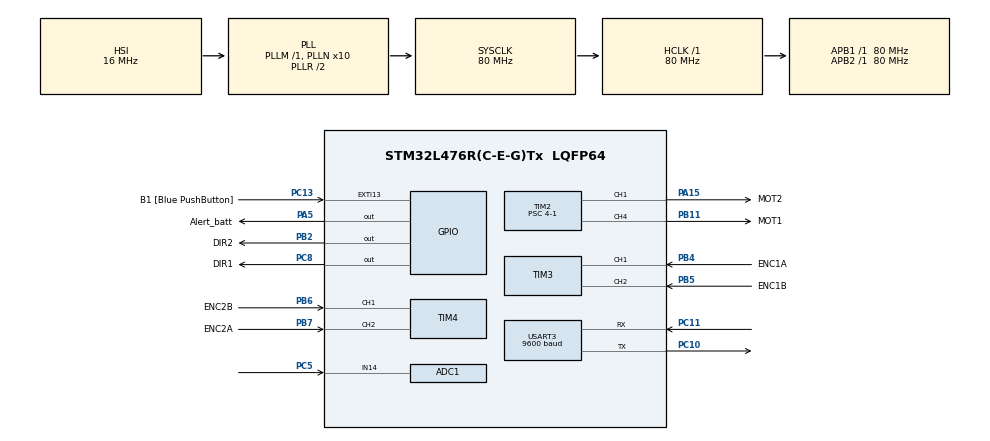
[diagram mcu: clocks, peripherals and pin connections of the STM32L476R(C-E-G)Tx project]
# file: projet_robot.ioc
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ADC1.Channel-1\#ChannelRegularConversion=ADC_CHANNEL_14
ADC1.NbrOfConversionFlag=1
ADC1.OffsetNumber-1\#ChannelRegularConversion=ADC_OFFSET_NONE
ADC1.Rank-1\#ChannelRegularConversion=1
ADC1.Resolution=ADC_RESOLUTION_8B
ADC1.SamplingTime-1\#ChannelRegularConversion=ADC_SAMPLETIME_640CYCLES_5
ADC1.master=1
Mcu.Family=STM32L4
Mcu.Name=STM32L476R(C-E-G)Tx
Mcu.Package=LQFP64
NVIC.ADC1_2_IRQn=true\:0\:0\:false\:false\:true\:true\:true\:true
NVIC.EXTI15_10_IRQn=true\:0\:0\:false\:false\:true\:true\:true\:true
NVIC.PriorityGroup=NVIC_PRIORITYGROUP_4
NVIC.TIM3_IRQn=true\:0\:0\:false\:false\:true\:true\:true\:true
NVIC.TIM4_IRQn=true\:0\:0\:false\:false\:true\:true\:true\:true
NVIC.TIM6_DAC_IRQn=true\:0\:0\:false\:false\:true\:true\:true\:true
NVIC.USART3_IRQn=true\:0\:0\:false\:false\:true\:true\:true\:true
PA13\ (JTMS-SWDIO).GPIO_Label=TMS
PA13\ (JTMS-SWDIO).Mode=Serial_Wire
PA13\ (JTMS-SWDIO).Signal=SYS_JTMS-SWDIO
PA14\ (JTCK-SWCLK).GPIO_Label=TCK
PA14\ (JTCK-SWCLK).Mode=Serial_Wire
PA14\ (JTCK-SWCLK).Signal=SYS_JTCK-SWCLK
PA15\ (JTDI).GPIO_Label=MOT2
PA15\ (JTDI).Signal=S_TIM2_CH1
PA5.GPIO_Label=Alert_batt
PA5.GPIO_ModeDefaultOutputPP=GPIO_MODE_OUTPUT_PP
PA5.GPIO_PuPd=GPIO_NOPULL
PA5.GPIO_Speed=GPIO_SPEED_FREQ_LOW
PA5.Signal=GPIO_Output
PB11.GPIO_Label=MOT1
PB11.Signal=S_TIM2_CH4
PB12.Signal=USART3_CK
PB2.GPIO_Label=DIR2
PB2.Signal=GPIO_Output
PB3\ (JTDO-TRACESWO).GPIO_Label=SWO
PB3\ (JTDO-TRACESWO).Signal=SYS_JTDO-SWO
PB4\ (NJTRST).GPIO_Label=ENC1A
PB4\ (NJTRST).Signal=S_TIM3_CH1
PB5.GPIO_Label=ENC1B
PB5.Signal=S_TIM3_CH2
PB6.GPIO_Label=ENC2B
PB6.Signal=S_TIM4_CH1
PB7.GPIO_Label=ENC2A
PB7.Signal=S_TIM4_CH2
PC10.Mode=Asynchronous
PC10.Signal=USART3_TX
PC11.Mode=Asynchronous
PC11.Signal=USART3_RX
PC13.GPIO_Label=B1 [Blue PushButton]
PC13.GPIO_ModeDefaultEXTI=GPIO_MODE_IT_FALLING
PC13.GPIO_PuPd=GPIO_NOPULL
PC13.Signal=GPXTI13
PC14-OSC32_IN\ (PC14).Mode=LSE-External-Oscillator
PC14-OSC32_IN\ (PC14).Signal=RCC_OSC32_IN
PC15-OSC32_OUT\ (PC15).Mode=LSE-External-Oscillator
PC15-OSC32_OUT\ (PC15).Signal=RCC_OSC32_OUT
PC5.Signal=ADCx_IN14
PC8.GPIO_Label=DIR1
PC8.Signal=GPIO_Output
PH0-OSC_IN\ (PH0).Signal=RCC_OSC_IN
PH1-OSC_OUT\ (PH1).Signal=RCC_OSC_OUT
ProjectManager.HeapSize=0x200
ProjectManager.StackSize=0x400
ProjectManager.TargetToolchain=STM32CubeIDE
RCC.ADCFreq_Value=64000000
RCC.AHBFreq_Value=80000000
RCC.APB1Freq_Value=80000000
RCC.APB1TimFreq_Value=80000000
RCC.APB2Freq_Value=80000000
RCC.APB2TimFreq_Value=80000000
RCC.CortexFreq_Value=80000000
RCC.HCLKFreq_Value=80000000
RCC.HSE_VALUE=8000000
RCC.HSI_VALUE=16000000
RCC.MSI_VALUE=4000000
RCC.PLLN=10
RCC.PLLSourceVirtual=RCC_PLLSOURCE_HSI
RCC.PREFETCH_ENABLE=1
RCC.SYSCLKFreq_VALUE=80000000
RCC.SYSCLKSource=RCC_SYSCLKSOURCE_PLLCLK
RCC.USBFreq_Value=64000000
RCC.VCOOutputFreq_Value=160000000
SH.ADCx_IN14.0=ADC1_IN14,IN14-Single-Ended
SH.S_TIM2_CH1.0=TIM2_CH1,PWM Generation1 CH1
SH.S_TIM2_CH4.0=TIM2_CH4,PWM Generation4 CH4
SH.S_TIM3_CH1.0=TIM3_CH1,Encoder_Interface
SH.S_TIM3_CH2.0=TIM3_CH2,Encoder_Interface
SH.S_TIM4_CH1.0=TIM4_CH1,Encoder_Interface
SH.S_TIM4_CH2.0=TIM4_CH2,Encoder_Interface
TIM2.Channel-PWM\ Generation1\ CH1=TIM_CHANNEL_1
TIM2.Channel-PWM\ Generation4\ CH4=TIM_CHANNEL_4
TIM2.Period=40000-1
TIM2.Prescaler=4-1
TIM3.EncoderMode=TIM_ENCODERMODE_TI12
TIM4.EncoderMode=TIM_ENCODERMODE_TI12
TIM4.IC1Polarity=TIM_ICPOLARITY_FALLING
TIM4.IC2Polarity=TIM_ICPOLARITY_FALLING
TIM6.Period=65535-1
TIM6.Prescaler=122-1
USART3.BaudRate=9600
USART3.Mode=MODE_TX_RX
USART3.VirtualMode-Asynchronous=VM_ASYNC
VP_TIM2_VS_ClockSourceINT.Mode=Internal
VP_TIM6_VS_ClockSourceINT.Mode=Enable_Timer
board=NUCLEO-L476RG

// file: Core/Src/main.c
/* USER CODE BEGIN Header */
/**
 ******************************************************************************
 * @file           : main.c
 * @brief          : Main program body
 ******************************************************************************
 * @attention
 *
 * Copyright (c) 2024 STMicroelectronics.
 * All rights reserved.
 *
 * This software is licensed under terms that can be found in the LICENSE file
 * in the root directory of this software component.
 * If no LICENSE file comes with this software, it is provided AS-IS.
 *
 ******************************************************************************
 */
/* USER CODE END Header */
#include "main.h"

/* USER CODE BEGIN Includes */
#include <stdio.h>
#include <string.h>
#include <stdlib.h>
/* USER CODE END Includes */

/* USER CODE BEGIN PD */
#define ADC_MAX_VALUE 255
#define RX_BUFFER_SIZE 128
#define DISTANCE_PER_PULSE 0.01
/*#define CKp_D 170
#define CKp_G 210
#define CKi_D 0
#define CKi_G 0*/
/* USER CODE END PD */

ADC_HandleTypeDef hadc1;

TIM_HandleTypeDef htim2;
TIM_HandleTypeDef htim3;
TIM_HandleTypeDef htim4;
TIM_HandleTypeDef htim6;

UART_HandleTypeDef huart3;

/* USER CODE BEGIN PV */

volatile uint8_t T_batt = 0;
volatile uint8_t adcValue;
volatile float batteryVoltage = 0.0f;
volatile uint8_t ADC_on = 0;
unsigned char rxData;
volatile uint32_t pulse_count = 0;
volatile uint32_t last_capture = 0;
volatile uint32_t current_capture = 0;
volatile float speed = 0.0;
volatile int32_t encoder_value_right = 0;
volatile int32_t encoder_value_left = 0;
volatile uint8_t T_enc = 0;
volatile uint32_t encoder_value_right_minus200 = 0;
volatile uint32_t encoder_value_left_minus200 = 0;

volatile uint8_t target10_top = 27;//35
volatile uint8_t target20_top = 68;
volatile uint8_t target30_top = 100;//85
volatile int16_t somme_erreursR = 0;
volatile int16_t somme_erreursL = 0;
volatile uint32_t VG = 0, VD=0;
volatile uint8_t vitesse;
volatile int32_t test;
volatile uint8_t buttonPressed = 0;

typedef enum {
    STATE_NEUTRAL,
    STATE_AV1,
    STATE_AV2,
    STATE_AV3,
    STATE_R1,
    STATE_R2,
    STATE_R3,
    STATE_D1,
    STATE_D2,
    STATE_D3,
    STATE_G1,
    STATE_G2,
    STATE_G3,
    STATE_END,
} State_t;

typedef enum {
    EVENT_AV,
    EVENT_R,
    EVENT_D,
    EVENT_G,
    EVENT_END,
    EVENT_NEUTRAL,
} Event_t;

State_t currentState = STATE_NEUTRAL;
Event_t currentEvent = EVENT_NEUTRAL;
/* USER CODE END PV */

void SystemClock_Config(void);
static void MX_GPIO_Init(void);
static void MX_ADC1_Init(void);
static void MX_TIM6_Init(void);
static void MX_TIM2_Init(void);
static void MX_TIM3_Init(void);
static void MX_USART3_UART_Init(void);
static void MX_TIM4_Init(void);
/* USER CODE BEGIN PFP */
void handleEvent(Event_t event);
void executeStateActions(void);
uint32_t calculCommande(int mode, int cote);
/* USER CODE END PFP */

int main(void)
{

    /* MCU Configuration--------------------------------------------------------*/

    /* Reset of all peripherals, Initializes the Flash interface and the Systick. */
    HAL_Init();

    /* Configure the system clock */
    SystemClock_Config();

    /* Initialize all configured peripherals */
    MX_GPIO_Init();
    MX_ADC1_Init();
    MX_TIM6_Init();
    MX_TIM2_Init();
    MX_TIM3_Init();
    MX_USART3_UART_Init();
    MX_TIM4_Init();
    /* USER CODE BEGIN 2 */
    HAL_TIM_Base_Start_IT(&htim6);
    HAL_TIM_PWM_Start(&htim2, TIM_CHANNEL_1);
    HAL_TIM_PWM_Start(&htim2, TIM_CHANNEL_4);
    HAL_UART_Receive_IT(&huart3, &rxData, sizeof(rxData));
    HAL_TIM_Encoder_Start(&htim3, TIM_CHANNEL_ALL);
    HAL_TIM_Encoder_Start(&htim4, TIM_CHANNEL_ALL);

    /* USER CODE END 2 */

    /* Infinite loop */
    /* USER CODE BEGIN WHILE */
    while (1)
    {
        // Exécution de la première boucle while
        if (T_batt >= 50)
        {
            T_batt = 0;
            HAL_ADC_Start_IT(&hadc1);
            if (ADC_on == 1)
            {
                ADC_on = 0;
                adcValue = HAL_ADC_GetValue(&hadc1);

                if (adcValue < 231)
                {
                    HAL_GPIO_WritePin(Alert_batt_GPIO_Port, Alert_batt_Pin, GPIO_PIN_SET); // Allumer la LED
                }
                else
                {
                    HAL_GPIO_WritePin(Alert_batt_GPIO_Port, Alert_batt_Pin, GPIO_PIN_RESET); // Éteindre la LED
                }
            }
        }

        // Exécution de la deuxième boucle while seulement si buttonPressed == 1
        if (buttonPressed == 1)
        {
            if (T_enc >= 2)
            {
                T_enc = 0;
                encoder_value_right_minus200 = encoder_value_right;
                encoder_value_left_minus200 = encoder_value_left;
                encoder_value_left = (TIM4->CNT);
                encoder_value_right = (TIM3->CNT);
                VD = calculCommande(vitesse, 0);
                VG = calculCommande(vitesse, 1);
                handleEvent(currentEvent);
                executeStateActions();
                test = encoder_value_left - encoder_value_left_minus200;
            }
        }
    }
    /* USER CODE END WHILE */

    /* USER CODE BEGIN 3 */
}

void SystemClock_Config(void)
{
    RCC_OscInitTypeDef RCC_OscInitStruct = {0};
    RCC_ClkInitTypeDef RCC_ClkInitStruct = {0};

    /** Configure the main internal regulator output voltage
     */
    if (HAL_PWREx_ControlVoltageScaling(PWR_REGULATOR_VOLTAGE_SCALE1) != HAL_OK)
    {
        Error_Handler();
    }

    /** Initializes the RCC Oscillators according to the specified parameters
     * in the RCC_OscInitTypeDef structure.
     */
    RCC_OscInitStruct.OscillatorType = RCC_OSCILLATORTYPE_HSI;
    RCC_OscInitStruct.HSIState = RCC_HSI_ON;
    RCC_OscInitStruct.HSICalibrationValue = RCC_HSICALIBRATION_DEFAULT;
    RCC_OscInitStruct.PLL.PLLState = RCC_PLL_ON;
    RCC_OscInitStruct.PLL.PLLSource = RCC_PLLSOURCE_HSI;
    RCC_OscInitStruct.PLL.PLLM = 1;
    RCC_OscInitStruct.PLL.PLLN = 10;
    RCC_OscInitStruct.PLL.PLLP = RCC_PLLP_DIV7;
    RCC_OscInitStruct.PLL.PLLQ = RCC_PLLQ_DIV2;
    RCC_OscInitStruct.PLL.PLLR = RCC_PLLR_DIV2;
    if (HAL_RCC_OscConfig(&RCC_OscInitStruct) != HAL_OK)
    {
        Error_Handler();
    }

    /** Initializes the CPU, AHB and APB buses clocks
     */
    RCC_ClkInitStruct.ClockType = RCC_CLOCKTYPE_HCLK|RCC_CLOCKTYPE_SYSCLK
            |RCC_CLOCKTYPE_PCLK1|RCC_CLOCKTYPE_PCLK2;
    RCC_ClkInitStruct.SYSCLKSource = RCC_SYSCLKSOURCE_PLLCLK;
    RCC_ClkInitStruct.AHBCLKDivider = RCC_SYSCLK_DIV1;
    RCC_ClkInitStruct.APB1CLKDivider = RCC_HCLK_DIV1;
    RCC_ClkInitStruct.APB2CLKDivider = RCC_HCLK_DIV1;

    if (HAL_RCC_ClockConfig(&RCC_ClkInitStruct, FLASH_LATENCY_4) != HAL_OK)
    {
        Error_Handler();
    }
}

static void MX_ADC1_Init(void)
{

    ADC_MultiModeTypeDef multimode = {0};
    ADC_ChannelConfTypeDef sConfig = {0};

    /** Common config
     */
    hadc1.Instance = ADC1;
    hadc1.Init.ClockPrescaler = ADC_CLOCK_ASYNC_DIV1;
    hadc1.Init.Resolution = ADC_RESOLUTION_8B;
    hadc1.Init.DataAlign = ADC_DATAALIGN_RIGHT;
    hadc1.Init.ScanConvMode = ADC_SCAN_DISABLE;
    hadc1.Init.EOCSelection = ADC_EOC_SINGLE_CONV;
    hadc1.Init.LowPowerAutoWait = DISABLE;
    hadc1.Init.ContinuousConvMode = DISABLE;
    hadc1.Init.NbrOfConversion = 1;
    hadc1.Init.DiscontinuousConvMode = DISABLE;
    hadc1.Init.ExternalTrigConv = ADC_SOFTWARE_START;
    hadc1.Init.ExternalTrigConvEdge = ADC_EXTERNALTRIGCONVEDGE_NONE;
    hadc1.Init.DMAContinuousRequests = DISABLE;
    hadc1.Init.Overrun = ADC_OVR_DATA_PRESERVED;
    hadc1.Init.OversamplingMode = DISABLE;
    if (HAL_ADC_Init(&hadc1) != HAL_OK)
    {
        Error_Handler();
    }

    /** Configure the ADC multi-mode
     */
    multimode.Mode = ADC_MODE_INDEPENDENT;
    if (HAL_ADCEx_MultiModeConfigChannel(&hadc1, &multimode) != HAL_OK)
    {
        Error_Handler();
    }

    /** Configure Regular Channel
     */
    sConfig.Channel = ADC_CHANNEL_14;
    sConfig.Rank = ADC_REGULAR_RANK_1;
    sConfig.SamplingTime = ADC_SAMPLETIME_640CYCLES_5;
    sConfig.SingleDiff = ADC_SINGLE_ENDED;
    sConfig.OffsetNumber = ADC_OFFSET_NONE;
    sConfig.Offset = 0;
    if (HAL_ADC_ConfigChannel(&hadc1, &sConfig) != HAL_OK)
    {
        Error_Handler();
    }
}

static void MX_TIM2_Init(void)
{

    TIM_ClockConfigTypeDef sClockSourceConfig = {0};
    TIM_MasterConfigTypeDef sMasterConfig = {0};
    TIM_OC_InitTypeDef sConfigOC = {0};

    htim2.Instance = TIM2;
    htim2.Init.Prescaler = 4-1;
    htim2.Init.CounterMode = TIM_COUNTERMODE_UP;
    htim2.Init.Period = 40000-1;
    htim2.Init.ClockDivision = TIM_CLOCKDIVISION_DIV1;
    htim2.Init.AutoReloadPreload = TIM_AUTORELOAD_PRELOAD_DISABLE;
    if (HAL_TIM_Base_Init(&htim2) != HAL_OK)
    {
        Error_Handler();
    }
    sClockSourceConfig.ClockSource = TIM_CLOCKSOURCE_INTERNAL;
    if (HAL_TIM_ConfigClockSource(&htim2, &sClockSourceConfig) != HAL_OK)
    {
        Error_Handler();
    }
    if (HAL_TIM_PWM_Init(&htim2) != HAL_OK)
    {
        Error_Handler();
    }
    sMasterConfig.MasterOutputTrigger = TIM_TRGO_RESET;
    sMasterConfig.MasterSlaveMode = TIM_MASTERSLAVEMODE_DISABLE;
    if (HAL_TIMEx_MasterConfigSynchronization(&htim2, &sMasterConfig) != HAL_OK)
    {
        Error_Handler();
    }
    sConfigOC.OCMode = TIM_OCMODE_PWM1;
    sConfigOC.Pulse = 0;
    sConfigOC.OCPolarity = TIM_OCPOLARITY_HIGH;
    sConfigOC.OCFastMode = TIM_OCFAST_DISABLE;
    if (HAL_TIM_PWM_ConfigChannel(&htim2, &sConfigOC, TIM_CHANNEL_1) != HAL_OK)
    {
        Error_Handler();
    }
    if (HAL_TIM_PWM_ConfigChannel(&htim2, &sConfigOC, TIM_CHANNEL_4) != HAL_OK)
    {
        Error_Handler();
    }
    HAL_TIM_MspPostInit(&htim2);
}

static void MX_TIM3_Init(void)
{

    TIM_Encoder_InitTypeDef sConfig = {0};
    TIM_MasterConfigTypeDef sMasterConfig = {0};

    htim3.Instance = TIM3;
    htim3.Init.Prescaler = 0;
    htim3.Init.CounterMode = TIM_COUNTERMODE_UP;
    htim3.Init.Period = 65535;
    htim3.Init.ClockDivision = TIM_CLOCKDIVISION_DIV1;
    htim3.Init.AutoReloadPreload = TIM_AUTORELOAD_PRELOAD_DISABLE;
    sConfig.EncoderMode = TIM_ENCODERMODE_TI12;
    sConfig.IC1Polarity = TIM_ICPOLARITY_RISING;
    sConfig.IC1Selection = TIM_ICSELECTION_DIRECTTI;
    sConfig.IC1Prescaler = TIM_ICPSC_DIV1;
    sConfig.IC1Filter = 0;
    sConfig.IC2Polarity = TIM_ICPOLARITY_RISING;
    sConfig.IC2Selection = TIM_ICSELECTION_DIRECTTI;
    sConfig.IC2Prescaler = TIM_ICPSC_DIV1;
    sConfig.IC2Filter = 0;
    if (HAL_TIM_Encoder_Init(&htim3, &sConfig) != HAL_OK)
    {
        Error_Handler();
    }
    sMasterConfig.MasterOutputTrigger = TIM_TRGO_RESET;
    sMasterConfig.MasterSlaveMode = TIM_MASTERSLAVEMODE_DISABLE;
    if (HAL_TIMEx_MasterConfigSynchronization(&htim3, &sMasterConfig) != HAL_OK)
    {
        Error_Handler();
    }
}

static void MX_TIM4_Init(void)
{

    TIM_Encoder_InitTypeDef sConfig = {0};
    TIM_MasterConfigTypeDef sMasterConfig = {0};

    htim4.Instance = TIM4;
    htim4.Init.Prescaler = 0;
    htim4.Init.CounterMode = TIM_COUNTERMODE_UP;
    htim4.Init.Period = 65535;
    htim4.Init.ClockDivision = TIM_CLOCKDIVISION_DIV1;
    htim4.Init.AutoReloadPreload = TIM_AUTORELOAD_PRELOAD_DISABLE;
    sConfig.EncoderMode = TIM_ENCODERMODE_TI12;
    sConfig.IC1Polarity = TIM_ICPOLARITY_FALLING;
    sConfig.IC1Selection = TIM_ICSELECTION_DIRECTTI;
    sConfig.IC1Prescaler = TIM_ICPSC_DIV1;
    sConfig.IC1Filter = 0;
    sConfig.IC2Polarity = TIM_ICPOLARITY_FALLING;
    sConfig.IC2Selection = TIM_ICSELECTION_DIRECTTI;
    sConfig.IC2Prescaler = TIM_ICPSC_DIV1;
    sConfig.IC2Filter = 0;
    if (HAL_TIM_Encoder_Init(&htim4, &sConfig) != HAL_OK)
    {
        Error_Handler();
    }
    sMasterConfig.MasterOutputTrigger = TIM_TRGO_RESET;
    sMasterConfig.MasterSlaveMode = TIM_MASTERSLAVEMODE_DISABLE;
    if (HAL_TIMEx_MasterConfigSynchronization(&htim4, &sMasterConfig) != HAL_OK)
    {
        Error_Handler();
    }
}

static void MX_TIM6_Init(void)
{

    TIM_MasterConfigTypeDef sMasterConfig = {0};

    htim6.Instance = TIM6;
    htim6.Init.Prescaler = 122-1;
    htim6.Init.CounterMode = TIM_COUNTERMODE_UP;
    htim6.Init.Period = 65535-1;
    htim6.Init.AutoReloadPreload = TIM_AUTORELOAD_PRELOAD_DISABLE;
    if (HAL_TIM_Base_Init(&htim6) != HAL_OK)
    {
        Error_Handler();
    }
    sMasterConfig.MasterOutputTrigger = TIM_TRGO_RESET;
    sMasterConfig.MasterSlaveMode = TIM_MASTERSLAVEMODE_DISABLE;
    if (HAL_TIMEx_MasterConfigSynchronization(&htim6, &sMasterConfig) != HAL_OK)
    {
        Error_Handler();
    }
}

static void MX_USART3_UART_Init(void)
{

    huart3.Instance = USART3;
    huart3.Init.BaudRate = 9600;
    huart3.Init.WordLength = UART_WORDLENGTH_8B;
    huart3.Init.StopBits = UART_STOPBITS_1;
    huart3.Init.Parity = UART_PARITY_NONE;
    huart3.Init.Mode = UART_MODE_TX_RX;
    huart3.Init.HwFlowCtl = UART_HWCONTROL_NONE;
    huart3.Init.OverSampling = UART_OVERSAMPLING_16;
    huart3.Init.OneBitSampling = UART_ONE_BIT_SAMPLE_DISABLE;
    huart3.AdvancedInit.AdvFeatureInit = UART_ADVFEATURE_NO_INIT;
    if (HAL_UART_Init(&huart3) != HAL_OK)
    {
        Error_Handler();
    }
}

static void MX_GPIO_Init(void)
{
    GPIO_InitTypeDef GPIO_InitStruct = {0};

    /* GPIO Ports Clock Enable */
    __HAL_RCC_GPIOC_CLK_ENABLE();
    __HAL_RCC_GPIOH_CLK_ENABLE();
    __HAL_RCC_GPIOA_CLK_ENABLE();
    __HAL_RCC_GPIOB_CLK_ENABLE();

    /*Configure GPIO pin Output Level */
    HAL_GPIO_WritePin(Alert_batt_GPIO_Port, Alert_batt_Pin, GPIO_PIN_RESET);

    /*Configure GPIO pin Output Level */
    HAL_GPIO_WritePin(DIR2_GPIO_Port, DIR2_Pin, GPIO_PIN_RESET);

    /*Configure GPIO pin Output Level */
    HAL_GPIO_WritePin(DIR1_GPIO_Port, DIR1_Pin, GPIO_PIN_RESET);

    /*Configure GPIO pin : B1_Pin */
    GPIO_InitStruct.Pin = B1_Pin;
    GPIO_InitStruct.Mode = GPIO_MODE_IT_FALLING;
    GPIO_InitStruct.Pull = GPIO_NOPULL;
    HAL_GPIO_Init(B1_GPIO_Port, &GPIO_InitStruct);

    /*Configure GPIO pin : Alert_batt_Pin */
    GPIO_InitStruct.Pin = Alert_batt_Pin;
    GPIO_InitStruct.Mode = GPIO_MODE_OUTPUT_PP;
    GPIO_InitStruct.Pull = GPIO_NOPULL;
    GPIO_InitStruct.Speed = GPIO_SPEED_FREQ_LOW;
    HAL_GPIO_Init(Alert_batt_GPIO_Port, &GPIO_InitStruct);

    /*Configure GPIO pin : DIR2_Pin */
    GPIO_InitStruct.Pin = DIR2_Pin;
    GPIO_InitStruct.Mode = GPIO_MODE_OUTPUT_PP;
    GPIO_InitStruct.Pull = GPIO_NOPULL;
    GPIO_InitStruct.Speed = GPIO_SPEED_FREQ_LOW;
    HAL_GPIO_Init(DIR2_GPIO_Port, &GPIO_InitStruct);

    /*Configure GPIO pin : DIR1_Pin */
    GPIO_InitStruct.Pin = DIR1_Pin;
    GPIO_InitStruct.Mode = GPIO_MODE_OUTPUT_PP;
    GPIO_InitStruct.Pull = GPIO_NOPULL;
    GPIO_InitStruct.Speed = GPIO_SPEED_FREQ_LOW;
    HAL_GPIO_Init(DIR1_GPIO_Port, &GPIO_InitStruct);

    /* EXTI interrupt init*/
    HAL_NVIC_SetPriority(EXTI15_10_IRQn, 0, 0);
    HAL_NVIC_EnableIRQ(EXTI15_10_IRQn);

}

/* USER CODE BEGIN 4 */

void HAL_TIM_PeriodElapsedCallback(TIM_HandleTypeDef *htim)
{
    if (htim->Instance == TIM6)
    {
        T_batt++;
        T_enc++;
    }
}

void HAL_ADC_ConvCpltCallback(ADC_HandleTypeDef *hadc)
{
    ADC_on = 1;
}

void HAL_UART_RxCpltCallback(UART_HandleTypeDef *huart)
{
    if (huart->Instance == USART3)
    {
        if(rxData == 'F'){
            currentEvent = EVENT_AV;
            somme_erreursL = 0;
            somme_erreursR = 0;
        }
        else if(rxData == 'B'){
            currentEvent = EVENT_R;
            somme_erreursL = 0;
            somme_erreursR = 0;
        }
        else if(rxData == 'L'){
            currentEvent = EVENT_G;
            somme_erreursL = 0;
            somme_erreursR = 0;
        }
        else if(rxData == 'R'){
            currentEvent = EVENT_D;
            somme_erreursL = 0;
            somme_erreursR = 0;
        }
        else if(rxData == 'X'){
            currentEvent = EVENT_END;
            somme_erreursL = 0;
            somme_erreursR = 0;
        }
        else
            currentEvent = EVENT_NEUTRAL;
        HAL_UART_Receive_IT(&huart3, &rxData, sizeof(rxData));
    }
}

void handleEvent(Event_t event) {
    switch (currentState) {
    case STATE_NEUTRAL:
        if (event == EVENT_AV) {
            currentState = STATE_AV1;
        }
        else if (event == EVENT_R) {
            currentState = STATE_R1;
        }
        else if (event == EVENT_D) {
            currentState = STATE_D1;
        }
        else if (event == EVENT_G) {
            currentState = STATE_G1;
        }
        else if (event == EVENT_END) {
            currentState = STATE_END;
        }
        else if (event == EVENT_NEUTRAL){
            currentState = currentState;
        }
        break;

    case STATE_AV1:
        if (event == EVENT_AV) {
            currentState = STATE_AV2;
        }
        else if (event == EVENT_R) {
            currentState = STATE_NEUTRAL;
        }
        else if (event == EVENT_D) {
            currentState = STATE_D1;
        }
        else if (event == EVENT_G) {
            currentState = STATE_G1;
        }
        else if (event == EVENT_END) {
            currentState = STATE_END;
        }
        else if (event == EVENT_NEUTRAL){
            currentState = currentState;
        }
        break;

    case STATE_AV2:
        if (event == EVENT_AV) {
            currentState = STATE_AV3;
        }
        else if (event == EVENT_R) {
            currentState = STATE_AV1;
        }
        else if (event == EVENT_D) {
            currentState = STATE_D2;
        }
        else if (event == EVENT_G) {
            currentState = STATE_G2;
        }
        else if (event == EVENT_END) {
            currentState = STATE_END;
        }
        else if (event == EVENT_NEUTRAL){
            currentState = currentState;
        }
        break;

    case STATE_AV3:
        if (event == EVENT_AV) {
            currentState = STATE_AV3;
        }
        else if (event == EVENT_R) {
            currentState = STATE_AV2;
        }
        else if (event == EVENT_D) {
            currentState = STATE_D3;
        }
        else if (event == EVENT_G) {
            currentState = STATE_G3;
        }
        else if (event == EVENT_END) {
            currentState = STATE_END;
        }
        else if (event == EVENT_NEUTRAL){
            currentState = currentState;
        }
        break;

    case STATE_R1:
        if (event == EVENT_AV) {
            currentState = STATE_NEUTRAL;
        }
        else if (event == EVENT_R) {
            currentState = STATE_R2;
        }
        else if (event == EVENT_D) {
            currentState = STATE_D1;
        }
        else if (event == EVENT_G) {
            currentState = STATE_G1;
        }
        else if (event == EVENT_END) {
            currentState = STATE_END;
        }
        else if (event == EVENT_NEUTRAL){
            currentState = currentState;
        }
        break;

    case STATE_R2:
        if (event == EVENT_AV) {
            currentState = STATE_R1;
        }
        else if (event == EVENT_R) {
            currentState = STATE_R3;
        }
        else if (event == EVENT_D) {
            currentState = STATE_D2;
        }
        else if (event == EVENT_G) {
            currentState = STATE_G2;
        }
        else if (event == EVENT_END) {
            currentState = STATE_END;
        }
        else if (event == EVENT_NEUTRAL){
            currentState = currentState;
        }
        break;

    case STATE_R3:
        if (event == EVENT_AV) {
            currentState = STATE_R2;
        }
        else if (event == EVENT_R) {
            currentState = STATE_R3;
        }
        else if (event == EVENT_D) {
            currentState = STATE_D3;
        }
        else if (event == EVENT_G) {
            currentState = STATE_G3;
        }
        else if (event == EVENT_END) {
            currentState = STATE_END;
        }
        else if (event == EVENT_NEUTRAL){
            currentState = currentState;
        }
        break;

    case STATE_D1:
        if (event == EVENT_AV) {
            currentState = STATE_AV1;
        }
        else if (event == EVENT_R) {
            currentState = STATE_R1;
        }
        else if (event == EVENT_D) {
            currentState = STATE_D2;
        }
        else if (event == EVENT_G) {
            currentState = STATE_NEUTRAL;
        }
        else if (event == EVENT_END) {
            currentState = STATE_END;
        }
        else if (event == EVENT_NEUTRAL){
            currentState = currentState;
        }
        break;

    case STATE_D2:
        if (event == EVENT_AV) {
            currentState = STATE_AV2;
        }
        else if (event == EVENT_R) {
            currentState = STATE_R2;
        }
        else if (event == EVENT_D) {
            currentState = STATE_D3;
        }
        else if (event == EVENT_G) {
            currentState = STATE_D1;
        }
        else if (event == EVENT_END) {
            currentState = STATE_END;
        }
        else if (event == EVENT_NEUTRAL){
            currentState = currentState;
        }
        break;

    case STATE_D3:
        if (event == EVENT_AV) {
            currentState = STATE_AV3;
        }
        else if (event == EVENT_R) {
            currentState = STATE_R3;
        }
        else if (event == EVENT_D) {
            currentState = STATE_D3;
        }
        else if (event == EVENT_G) {
            currentState = STATE_D2;
        }
        else if (event == EVENT_END) {
            currentState = STATE_END;
        }
        else if (event == EVENT_NEUTRAL){
            currentState = currentState;
        }
        break;

    case STATE_G1:
        if (event == EVENT_AV) {
            currentState = STATE_AV1;
        }
        else if (event == EVENT_R) {
            currentState = STATE_R1;
        }
        else if (event == EVENT_D) {
            currentState = STATE_NEUTRAL;
        }
        else if (event == EVENT_G) {
            currentState = STATE_G2;
        }
        else if (event == EVENT_END) {
            currentState = STATE_END;
        }
        else if (event == EVENT_NEUTRAL){
            currentState = currentState;
        }
        break;

    case STATE_G2:
        if (event == EVENT_AV) {
            currentState = STATE_AV2;
        }
        else if (event == EVENT_R) {
            currentState = STATE_R2;
        }
        else if (event == EVENT_D) {
            currentState = STATE_G1;
        }
        else if (event == EVENT_G) {
            currentState = STATE_G3;
        }
        else if (event == EVENT_END) {
            currentState = STATE_END;
        }
        else if (event == EVENT_NEUTRAL){
            currentState = currentState;
        }
        break;

    case STATE_G3:
        if (event == EVENT_AV) {
            currentState = STATE_AV3;
        }
        else if (event == EVENT_R) {
            currentState = STATE_R3;
        }
        else if (event == EVENT_D) {
            currentState = STATE_G2;
        }
        else if (event == EVENT_G) {
            currentState = STATE_G3;
        }
        else if (event == EVENT_END) {
            currentState = STATE_END;
        }
        else if (event == EVENT_NEUTRAL){
            currentState = currentState;
        }
        break;

    default:
        currentState = STATE_NEUTRAL;
        break;
    }
}

uint32_t calculCommande(int mode, int cote)
{
    int32_t epsilon = 0;
    int32_t commande = 0;
    int32_t targetTop = 0;
    int32_t encoder_value_current = 0;
    int32_t encoder_value_previous = 0;
    float CKp_D = 0.0;
    float CKi_D = 0.0;
    float CKp_G = 0.0;
    float CKi_G = 0.0;

    // Sélectionner les cibles en fonction du mode
    if (mode == 1)
    {
        targetTop = target10_top;
        CKp_D = 190;
        CKi_D = 0;
        CKp_G = 220;
        CKi_G = 0;
    }
    else if (mode == 2)
    {
        targetTop = target20_top;
        CKp_D = 170;
        CKi_D = 0;
        CKp_G = 210;
        CKi_G = 0;
    }
    else if (mode == 3)
    {
        targetTop = target30_top;
        CKp_D = 170;
        CKi_D = 0;
        CKp_G = 210;
        CKi_G = 0;
    }
    if (mode == 4)
    {
        targetTop = target10_top;
        CKp_D = 350;
        CKi_D = 0;
        CKp_G = 350;
        CKi_G = 0;
    }
    else if (mode == 5)
    {
        targetTop = target20_top;
        CKp_D = 400;
        CKi_D = 0;
        CKp_G = 400;
        CKi_G = 0;
    }
    else if (mode == 6)
    {
        targetTop = target30_top;
        CKp_D = 600;
        CKi_D = 0;
        CKp_G = 600;
        CKi_G = 0;
    }

    // Sélectionner les valeurs du codeur et les coefficients en fonction du côté
    if (cote == 0)
    {
        encoder_value_current = encoder_value_right;
        encoder_value_previous = encoder_value_right_minus200;
        epsilon = targetTop - encoder_value_previous + encoder_value_current;
        somme_erreursR += epsilon;
        commande = CKp_D * epsilon + CKi_D * somme_erreursR;
    }
    else if (cote == 1)
    {
        encoder_value_current = encoder_value_left;
        encoder_value_previous = encoder_value_left_minus200;
        epsilon = targetTop - encoder_value_previous + encoder_value_current;
        somme_erreursL += epsilon;
        commande = CKp_G * epsilon + CKi_G * somme_erreursL;
    }

    if (commande > 40000)
        commande = 40000;
    else if(mode==0)
        commande = 0;
    return commande;
}

void executeStateActions(void) {
    switch (currentState) {
    case STATE_NEUTRAL:
        vitesse = 0;
        __HAL_TIM_SET_COMPARE(&htim2,TIM_CHANNEL_1,0);
        __HAL_TIM_SET_COMPARE(&htim2,TIM_CHANNEL_4,0);
        HAL_GPIO_WritePin(DIR2_GPIO_Port,DIR2_Pin,GPIO_PIN_SET);
        HAL_GPIO_WritePin(DIR1_GPIO_Port,DIR1_Pin,GPIO_PIN_SET);
        break;

    case STATE_AV1:
        vitesse = 1;
        __HAL_TIM_SET_COMPARE(&htim2,TIM_CHANNEL_1,VG);
        __HAL_TIM_SET_COMPARE(&htim2,TIM_CHANNEL_4,VD);
        HAL_GPIO_WritePin(DIR2_GPIO_Port,DIR2_Pin,GPIO_PIN_SET);
        HAL_GPIO_WritePin(DIR1_GPIO_Port,DIR1_Pin,GPIO_PIN_SET);
        break;

    case STATE_AV2:
        vitesse = 2;
        __HAL_TIM_SET_COMPARE(&htim2,TIM_CHANNEL_1,VG);
        __HAL_TIM_SET_COMPARE(&htim2,TIM_CHANNEL_4,VD);
        HAL_GPIO_WritePin(DIR2_GPIO_Port,DIR2_Pin,GPIO_PIN_SET);
        HAL_GPIO_WritePin(DIR1_GPIO_Port,DIR1_Pin,GPIO_PIN_SET);
        break;

    case STATE_AV3:
        vitesse = 3;
        __HAL_TIM_SET_COMPARE(&htim2,TIM_CHANNEL_1,VG);
        __HAL_TIM_SET_COMPARE(&htim2,TIM_CHANNEL_4,VD);
        HAL_GPIO_WritePin(DIR2_GPIO_Port,DIR2_Pin,GPIO_PIN_SET);
        HAL_GPIO_WritePin(DIR1_GPIO_Port,DIR1_Pin,GPIO_PIN_SET);
        break;

    case STATE_R1:
        vitesse = 4;
        __HAL_TIM_SET_COMPARE(&htim2,TIM_CHANNEL_1,VG);
        __HAL_TIM_SET_COMPARE(&htim2,TIM_CHANNEL_4,VD);
        HAL_GPIO_WritePin(DIR2_GPIO_Port,DIR2_Pin,GPIO_PIN_RESET);
        HAL_GPIO_WritePin(DIR1_GPIO_Port,DIR1_Pin,GPIO_PIN_RESET);
        break;

    case STATE_R2:
        vitesse = 5;
        __HAL_TIM_SET_COMPARE(&htim2,TIM_CHANNEL_1,VG);
        __HAL_TIM_SET_COMPARE(&htim2,TIM_CHANNEL_4,VD);
        HAL_GPIO_WritePin(DIR2_GPIO_Port,DIR2_Pin,GPIO_PIN_RESET);
        HAL_GPIO_WritePin(DIR1_GPIO_Port,DIR1_Pin,GPIO_PIN_RESET);
        break;

    case STATE_R3:
        vitesse = 6;
        __HAL_TIM_SET_COMPARE(&htim2,TIM_CHANNEL_1,VG);
        __HAL_TIM_SET_COMPARE(&htim2,TIM_CHANNEL_4,VD);
        HAL_GPIO_WritePin(DIR2_GPIO_Port,DIR2_Pin,GPIO_PIN_RESET);
        HAL_GPIO_WritePin(DIR1_GPIO_Port,DIR1_Pin,GPIO_PIN_RESET);
        break;

    case STATE_D1:
        vitesse = 1;
        __HAL_TIM_SET_COMPARE(&htim2,TIM_CHANNEL_1,VG);
        __HAL_TIM_SET_COMPARE(&htim2,TIM_CHANNEL_4,VD);
        HAL_GPIO_WritePin(DIR2_GPIO_Port,DIR2_Pin,GPIO_PIN_SET);
        HAL_GPIO_WritePin(DIR1_GPIO_Port,DIR1_Pin,GPIO_PIN_RESET);
        break;

    case STATE_D2:
        vitesse = 2;
        __HAL_TIM_SET_COMPARE(&htim2,TIM_CHANNEL_1,VG);
        __HAL_TIM_SET_COMPARE(&htim2,TIM_CHANNEL_4,VD);
        HAL_GPIO_WritePin(DIR2_GPIO_Port,DIR2_Pin,GPIO_PIN_SET);
        HAL_GPIO_WritePin(DIR1_GPIO_Port,DIR1_Pin,GPIO_PIN_RESET);
        break;

    case STATE_D3:
        vitesse = 3;
        __HAL_TIM_SET_COMPARE(&htim2,TIM_CHANNEL_1,VG);
        __HAL_TIM_SET_COMPARE(&htim2,TIM_CHANNEL_4,VD);
        HAL_GPIO_WritePin(DIR2_GPIO_Port,DIR2_Pin,GPIO_PIN_SET);
        HAL_GPIO_WritePin(DIR1_GPIO_Port,DIR1_Pin,GPIO_PIN_RESET);
        break;

    case STATE_G1:
        vitesse = 1;
        __HAL_TIM_SET_COMPARE(&htim2,TIM_CHANNEL_1,VG);
        __HAL_TIM_SET_COMPARE(&htim2,TIM_CHANNEL_4,VD);
        HAL_GPIO_WritePin(DIR2_GPIO_Port,DIR2_Pin,GPIO_PIN_RESET);
        HAL_GPIO_WritePin(DIR1_GPIO_Port,DIR1_Pin,GPIO_PIN_SET);
        break;

    case STATE_G2:
        vitesse = 2;
        __HAL_TIM_SET_COMPARE(&htim2,TIM_CHANNEL_1,VG);
        __HAL_TIM_SET_COMPARE(&htim2,TIM_CHANNEL_4,VD);
        HAL_GPIO_WritePin(DIR2_GPIO_Port,DIR2_Pin,GPIO_PIN_RESET);
        HAL_GPIO_WritePin(DIR1_GPIO_Port,DIR1_Pin,GPIO_PIN_SET);
        break;

    case STATE_G3:
        vitesse = 3;
        __HAL_TIM_SET_COMPARE(&htim2,TIM_CHANNEL_1,VG);
        __HAL_TIM_SET_COMPARE(&htim2,TIM_CHANNEL_4,VD);
        HAL_GPIO_WritePin(DIR2_GPIO_Port,DIR2_Pin,GPIO_PIN_RESET);
        HAL_GPIO_WritePin(DIR1_GPIO_Port,DIR1_Pin,GPIO_PIN_SET);
        break;

    default:
        vitesse = 0;
        currentState = STATE_NEUTRAL;
        break;
    }
}

void HAL_GPIO_EXTI_Callback(uint16_t GPIO_Pin)
{
    if(GPIO_Pin == ENC1A_Pin)
    {
        current_capture = __HAL_TIM_GET_COUNTER(&htim6);
        uint32_t elapsed_time = current_capture - last_capture;
        last_capture = current_capture;

        if (elapsed_time > 0)
        {
            speed = (DISTANCE_PER_PULSE / elapsed_time) * 1000;
        }

        pulse_count++;
    }
    if(GPIO_Pin == GPIO_PIN_13)  // Vérifiez si l'interruption provient de PC13
    {
        buttonPressed = !buttonPressed;  // Inverser la valeur du flag
    }
}

/* USER CODE END 4 */

void Error_Handler(void)
{
    __disable_irq();
    while (1)
    {
    }
}
